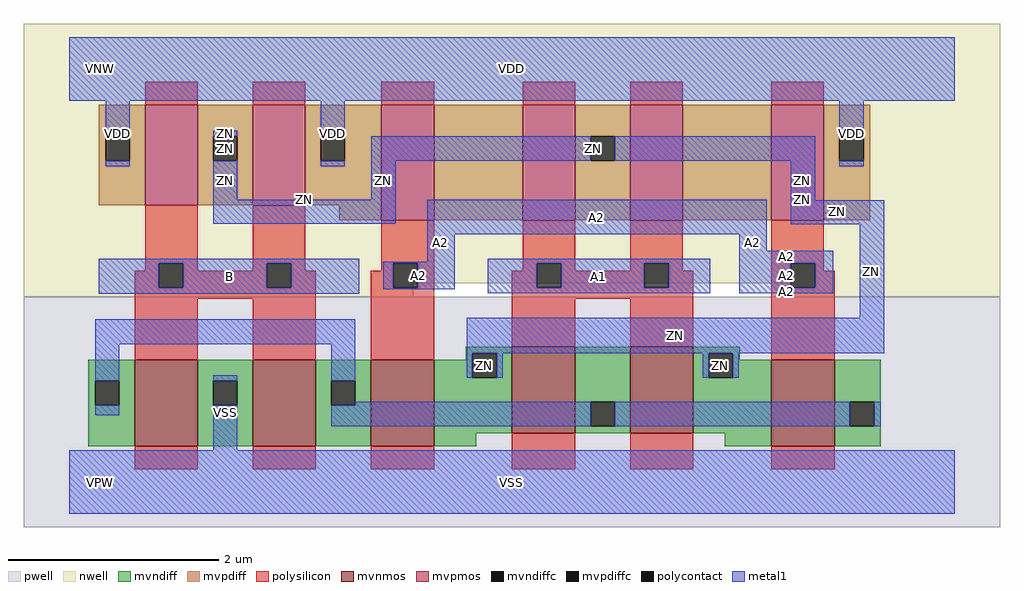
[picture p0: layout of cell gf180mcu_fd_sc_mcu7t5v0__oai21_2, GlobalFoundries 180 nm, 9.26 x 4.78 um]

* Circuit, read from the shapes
.subckt gf180mcu_fd_sc_mcu7t5v0__oai21_2 A1 A2 B ZN VDD VNW VPW VSS
XM1 VSS B n1 VPW nfet_06v0 w=0.82u l=0.6u m=2
XM2 ZN A2 n1 VPW nfet_06v0 w=0.82u l=0.6u m=2
XM3 n1 A1 ZN VPW nfet_06v0 w=0.82u l=0.6u m=2
XM4 ZN B VDD VNW pfet_06v0 w=0.955u l=0.5u m=2
XM5 n2 A2 VDD VNW pfet_06v0 w=1.095u l=0.5u
XM6 ZN A1 n2 VNW pfet_06v0 w=1.095u l=0.5u
XM7 n3 A1 ZN VNW pfet_06v0 w=1.095u l=0.5u
XM8 VDD A2 n3 VNW pfet_06v0 w=1.095u l=0.5u
.ends

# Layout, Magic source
magic
tech gf180mcuD
magscale 1 10
<< nwell >>
rect -86 377 1766 870
rect -86 352 653 377
rect 1361 352 1766 377
<< pwell >>
rect -86 -86 1766 352
<< mvnmos >>
rect 124 68 244 232
rect 348 68 468 232
rect 572 68 692 232
rect 840 93 960 257
rect 1064 93 1184 257
rect 1332 68 1452 232
<< mvpmos >>
rect 144 525 244 716
rect 348 525 448 716
rect 592 497 692 716
rect 860 497 960 716
rect 1064 497 1164 716
rect 1332 497 1432 716
<< mvndiff >>
rect 752 244 840 257
rect 752 232 765 244
rect 36 192 124 232
rect 36 146 49 192
rect 95 146 124 192
rect 36 68 124 146
rect 244 192 348 232
rect 244 146 273 192
rect 319 146 348 192
rect 244 68 348 146
rect 468 192 572 232
rect 468 146 497 192
rect 543 146 572 192
rect 468 68 572 146
rect 692 198 765 232
rect 811 198 840 244
rect 692 93 840 198
rect 960 152 1064 257
rect 960 106 989 152
rect 1035 106 1064 152
rect 960 93 1064 106
rect 1184 244 1272 257
rect 1184 198 1213 244
rect 1259 232 1272 244
rect 1259 198 1332 232
rect 1184 93 1332 198
rect 692 68 772 93
rect 1244 68 1332 93
rect 1452 152 1540 232
rect 1452 106 1481 152
rect 1527 106 1540 152
rect 1452 68 1540 106
<< mvpdiff >>
rect 56 656 144 716
rect 56 610 69 656
rect 115 610 144 656
rect 56 525 144 610
rect 244 656 348 716
rect 244 610 273 656
rect 319 610 348 656
rect 244 525 348 610
rect 448 656 592 716
rect 448 610 477 656
rect 523 610 592 656
rect 448 525 592 610
rect 512 497 592 525
rect 692 497 860 716
rect 960 656 1064 716
rect 960 610 989 656
rect 1035 610 1064 656
rect 960 497 1064 610
rect 1164 497 1332 716
rect 1432 656 1520 716
rect 1432 610 1461 656
rect 1507 610 1520 656
rect 1432 497 1520 610
<< mvndiffc >>
rect 49 146 95 192
rect 273 146 319 192
rect 497 146 543 192
rect 765 198 811 244
rect 989 106 1035 152
rect 1213 198 1259 244
rect 1481 106 1527 152
<< mvpdiffc >>
rect 69 610 115 656
rect 273 610 319 656
rect 477 610 523 656
rect 989 610 1035 656
rect 1461 610 1507 656
<< polysilicon >>
rect 144 716 244 760
rect 348 716 448 760
rect 592 716 692 760
rect 860 716 960 760
rect 1064 716 1164 760
rect 1332 716 1432 760
rect 144 415 244 525
rect 144 401 170 415
rect 124 369 170 401
rect 216 401 244 415
rect 348 415 448 525
rect 348 401 375 415
rect 216 369 375 401
rect 421 401 448 415
rect 592 415 692 497
rect 592 401 615 415
rect 421 369 468 401
rect 124 348 468 369
rect 124 232 244 348
rect 348 232 468 348
rect 572 369 615 401
rect 661 369 692 415
rect 860 415 960 497
rect 860 401 887 415
rect 572 232 692 369
rect 840 369 887 401
rect 933 401 960 415
rect 1064 415 1164 497
rect 1064 401 1091 415
rect 933 369 1091 401
rect 1137 401 1164 415
rect 1332 415 1432 497
rect 1137 369 1184 401
rect 840 348 1184 369
rect 840 257 960 348
rect 1064 257 1184 348
rect 1332 369 1369 415
rect 1415 401 1432 415
rect 1415 369 1452 401
rect 1332 232 1452 369
rect 124 24 244 68
rect 348 24 468 68
rect 572 24 692 68
rect 840 24 960 93
rect 1064 24 1184 93
rect 1332 24 1452 68
<< polycontact >>
rect 170 369 216 415
rect 375 369 421 415
rect 615 369 661 415
rect 887 369 933 415
rect 1091 369 1137 415
rect 1369 369 1415 415
<< metal1 >>
rect 0 724 1680 844
rect 69 656 115 724
rect 69 599 115 610
rect 273 656 319 667
rect 273 536 319 610
rect 477 656 523 724
rect 1461 656 1507 724
rect 477 599 523 610
rect 573 610 989 656
rect 1035 610 1415 656
rect 573 536 619 610
rect 273 490 619 536
rect 679 470 1323 536
rect 1369 535 1415 610
rect 1461 599 1507 610
rect 1369 489 1546 535
rect 56 415 550 424
rect 679 418 731 470
rect 1271 439 1323 470
rect 56 369 170 415
rect 216 369 375 415
rect 421 369 550 415
rect 56 357 550 369
rect 596 415 731 418
rect 596 369 615 415
rect 661 369 731 415
rect 596 366 731 369
rect 794 415 1216 424
rect 794 369 887 415
rect 933 369 1091 415
rect 1137 369 1216 415
rect 794 358 1216 369
rect 1271 415 1450 439
rect 1271 369 1369 415
rect 1415 369 1450 415
rect 1271 358 1450 369
rect 1500 312 1546 489
rect 49 262 543 309
rect 49 192 95 262
rect 49 127 95 146
rect 273 192 319 203
rect 273 60 319 146
rect 497 192 543 262
rect 754 244 1546 312
rect 754 198 765 244
rect 811 198 822 244
rect 1202 198 1213 244
rect 1259 198 1270 244
rect 543 146 989 152
rect 497 106 989 146
rect 1035 106 1481 152
rect 1527 106 1540 152
rect 0 -60 1680 60
<< labels >>
flabel metal1 s 679 470 1323 536 0 FreeSans 400 0 0 0 A2
port 2 nsew default input
flabel metal1 s 273 656 319 667 0 FreeSans 400 0 0 0 ZN
port 4 nsew default output
flabel metal1 s 794 358 1216 424 0 FreeSans 400 0 0 0 A1
port 1 nsew default input
flabel metal1 s 273 60 319 203 0 FreeSans 400 0 0 0 VSS
port 8 nsew ground bidirectional abutment
flabel metal1 s 56 357 550 424 0 FreeSans 400 0 0 0 B
port 3 nsew default input
flabel metal1 s 0 724 1680 844 0 FreeSans 400 0 0 0 VDD
port 5 nsew power bidirectional abutment
flabel nwell s 10 734 110 834 0 FreeSans 400 0 0 0 VNW
port 6 nsew power bidirectional
flabel pwell s 10 -50 110 50 0 FreeSans 400 0 0 0 VPW
port 7 nsew ground bidirectional
rlabel metal1 s 1271 439 1323 470 1 A2
port 2 nsew default input
rlabel metal1 s 679 439 731 470 1 A2
port 2 nsew default input
rlabel metal1 s 1271 418 1450 439 1 A2
port 2 nsew default input
rlabel metal1 s 679 418 731 439 1 A2
port 2 nsew default input
rlabel metal1 s 1271 366 1450 418 1 A2
port 2 nsew default input
rlabel metal1 s 596 366 731 418 1 A2
port 2 nsew default input
rlabel metal1 s 1271 358 1450 366 1 A2
port 2 nsew default input
rlabel metal1 s 573 610 1415 656 1 ZN
port 4 nsew default output
rlabel metal1 s 273 610 319 656 1 ZN
port 4 nsew default output
rlabel metal1 s 1369 536 1415 610 1 ZN
port 4 nsew default output
rlabel metal1 s 573 536 619 610 1 ZN
port 4 nsew default output
rlabel metal1 s 273 536 319 610 1 ZN
port 4 nsew default output
rlabel metal1 s 1369 535 1415 536 1 ZN
port 4 nsew default output
rlabel metal1 s 273 535 619 536 1 ZN
port 4 nsew default output
rlabel metal1 s 1369 490 1546 535 1 ZN
port 4 nsew default output
rlabel metal1 s 273 490 619 535 1 ZN
port 4 nsew default output
rlabel metal1 s 1369 489 1546 490 1 ZN
port 4 nsew default output
rlabel metal1 s 1500 312 1546 489 1 ZN
port 4 nsew default output
rlabel metal1 s 754 244 1546 312 1 ZN
port 4 nsew default output
rlabel metal1 s 1202 198 1270 244 1 ZN
port 4 nsew default output
rlabel metal1 s 754 198 822 244 1 ZN
port 4 nsew default output
rlabel metal1 s 1461 599 1507 724 1 VDD
port 5 nsew power bidirectional abutment
rlabel metal1 s 477 599 523 724 1 VDD
port 5 nsew power bidirectional abutment
rlabel metal1 s 69 599 115 724 1 VDD
port 5 nsew power bidirectional abutment
rlabel metal1 s 0 -60 1680 60 1 VSS
port 8 nsew ground bidirectional abutment
<< properties >>
string FIXED_BBOX 0 0 1680 784
string GDS_END 14640
string GDS_FILE $PDKPATH/libs.ref/gf180mcu_fd_sc_mcu7t5v0/gds/gf180mcu_fd_sc_mcu7t5v0.gds
string GDS_START 10640
string LEFclass core
string LEFsite GF018hv5v_mcu_sc7
string LEFsymmetry X Y
<< end >>
